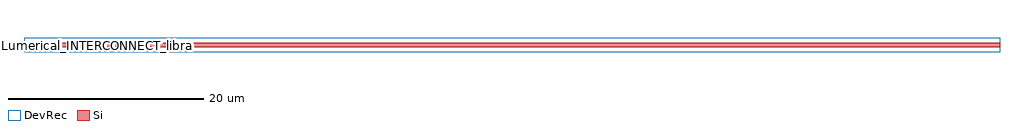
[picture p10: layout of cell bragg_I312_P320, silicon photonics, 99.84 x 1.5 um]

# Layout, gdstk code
import gdstk
lib = gdstk.Library(unit=1e-6, precision=1e-09)
def R(c, l, rs):  # rectangles x0, y0, x1, y1
    for r in rs: c.add(gdstk.rectangle(r[:2], r[2:], *l))
def A(c, l, x, y, w, h, nx, ny, dx, dy):  # array of equal rectangles
    R(c, l, [(x+i*dx, y+j*dy, x+i*dx+w, y+j*dy+h) for i in range(nx) for j in range(ny)])
Si = (1, 0)
DevRec = (68, 0)

bragg_i312_p320 = lib.new_cell('bragg_I312_P320')
A(bragg_i312_p320, Si, 0, -0.255, 0.16, 0.255, 312, 2, 0.32, 0.255)
A(bragg_i312_p320, Si, 0.16, -0.245, 0.16, 0.245, 312, 2, 0.32, 0.245)
R(bragg_i312_p320, DevRec, [(0,-0.75,99.84,0.75)])
bragg_i312_p320.add(gdstk.Label('Lumerical_INTERCONNECT_library=Design kits/ebeam', (0,0), layer=68, texttype=0))
bragg_i312_p320.add(gdstk.Label('Component=ebeam_bragg_te1550', (9.984,0), layer=68, texttype=0))
bragg_i312_p320.add(gdstk.Label('Spice_param:number_of_periods=312 grating_period=3.2e-07 corrugation_width=1e-08 misalignment=0 sinusoidal=0', (11.093,0), layer=68, texttype=0))

lib.write_gds('bragg_I312_P320.gds')
